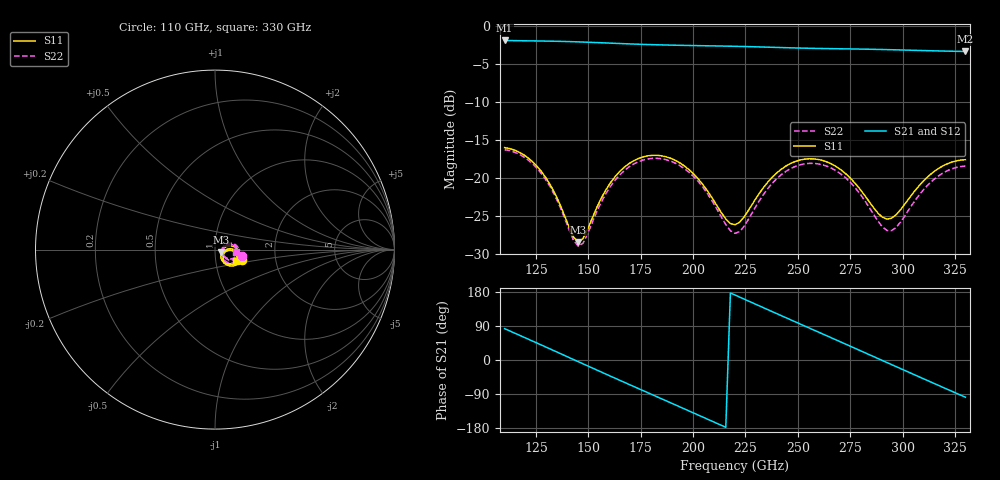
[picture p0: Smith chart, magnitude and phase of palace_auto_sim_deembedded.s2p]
! Created with skrf 1.11.0 (http://scikit-rf.org).
# GHz S DB R 50.0
!freq dBS11 angS11 dBS21 angS21 dBS12 angS12 dBS22 angS22
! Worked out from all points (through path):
!   101 points, 110 GHz to 330 GHz, reference 50 ohm
!   highest |S21| = -1.85 dB at 110 GHz (marker M1); lowest = -3.3 dB at 330 GHz (marker M2)
!   group delay of S21, straight-line fit = 6.83 ps
!   lowest |S11| = -28.4 dB at 145.2 GHz (marker M3), VSWR 1.08, Z = 53.6 - j1.55 ohm
!   |S11| at or under -10 dB: start of sweep to end of sweep
!   |S22| runs from -28.9 to -16.2 dB; largest |S21 - S12| = 1.2e-13
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110  -15.96 -20.9  -1.85 82.7  -1.85 82.7  -16.22 -13.7
118.8  -16.84 -37.5  -1.89 61.1  -1.89 61.1  -17.11 -29.7
129.8  -19.95 -54.4  -1.93 33.9  -1.93 33.9  -20.23 -46.1
145.2  -28.38 -22.3  -2.04 -4.5  -2.04 -4.5  -28.93 -13.9
147.4  -27.94 -7.1  -2.06 -10.0  -2.06 -10.0  -28.55 2.0
158.4  -21.49 14.1  -2.18 -37.3  -2.18 -37.3  -21.98 25.2
167.2  -18.52 4.1  -2.28 -59.0  -2.28 -59.0  -18.96 15.8
176  -17.18 -10.2  -2.37 -80.5  -2.37 -80.5  -17.60 2.0
184.8  -17.03 -25.2  -2.44 -102.0  -2.44 -102.0  -17.42 -12.6
193.6  -17.95 -39.1  -2.49 -123.5  -2.49 -123.5  -18.31 -26.3
204.6  -20.80 -50.6  -2.54 -150.5  -2.54 -150.5  -21.14 -38.5
220  -26.11 -22.0  -2.62 171.5  -2.62 171.5  -27.24 -10.3
228.8  -23.16 2.2  -2.68 149.8  -2.68 149.8  -24.24 18.6
239.8  -19.31 -1.5  -2.77 122.7  -2.77 122.7  -20.08 16.0
248.6  -17.80 -13.3  -2.83 101.1  -2.83 101.1  -18.45 4.3
257.4  -17.43 -26.9  -2.89 79.6  -2.89 79.6  -18.02 -9.3
266.2  -18.12 -40.0  -2.93 58.1  -2.93 58.1  -18.68 -22.7
277.2  -20.60 -51.2  -2.98 31.1  -2.98 31.1  -21.18 -35.0
288.2  -24.56 -42.5  -3.03 4.0  -3.03 4.0  -25.60 -28.3
294.8  -25.24 -21.0  -3.07 -12.2  -3.07 -12.2  -26.87 -4.3
314.6  -19.19 -7.9  -3.21 -60.8  -3.21 -60.8  -20.23 14.2
330  -17.55 -27.7  -3.30 -98.3  -3.30 -98.3  -18.38 -6.7
